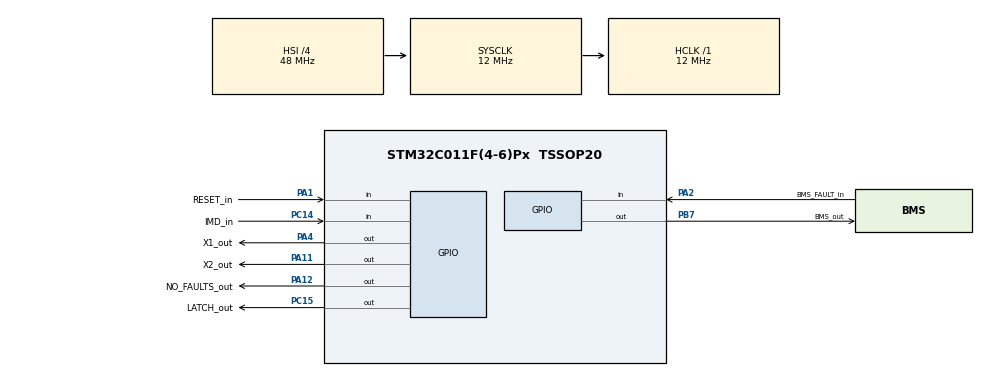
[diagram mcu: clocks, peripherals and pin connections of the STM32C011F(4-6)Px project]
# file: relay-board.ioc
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Mcu.Family=STM32C0
Mcu.Name=STM32C011F(4-6)Px
Mcu.Package=TSSOP20
PA1.GPIO_Label=RESET_in
PA1.Signal=GPIO_Input
PA11\ [PA9].GPIO_Label=X2_out
PA11\ [PA9].Signal=GPIO_Output
PA12\ [PA10].GPIO_Label=NO_FAULTS_out
PA12\ [PA10].Signal=GPIO_Output
PA13.Mode=Serial_Wire
PA13.Signal=DEBUG_SWDIO
PA14-BOOT0.Mode=Serial_Wire
PA14-BOOT0.Signal=DEBUG_SWCLK
PA2.GPIO_Label=BMS_FAULT_in
PA2.Signal=GPIO_Input
PA4.GPIO_Label=X1_out
PA4.Signal=GPIO_Output
PB7.GPIO_Label=BMS_out
PB7.Signal=GPIO_Output
PC14-OSCX_IN\ (PC14).GPIO_Label=IMD_in
PC14-OSCX_IN\ (PC14).Signal=GPIO_Input
PC15-OSCX_OUT\ (PC15).GPIO_Label=LATCH_out
PC15-OSCX_OUT\ (PC15).Signal=GPIO_Output
ProjectManager.HeapSize=0x200
ProjectManager.StackSize=0x400
ProjectManager.TargetToolchain=STM32CubeIDE
RCC.ADCFreq_Value=12000000
RCC.AHBFreq_Value=12000000
RCC.CortexFreq_Value=12000000
RCC.EXTERNAL_CLOCK_VALUE=12288000
RCC.HCLKFreq_Value=12000000
RCC.HSE_VALUE=8000000
RCC.HSI_VALUE=48000000
RCC.LSE_VALUE=32768
RCC.SYSCLKFreq_VALUE=12000000
board=custom

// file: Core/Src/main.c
/* USER CODE BEGIN Header */
/**
  ******************************************************************************
  * @file           : main.c
  * @brief          : Main program body
  ******************************************************************************
  * @attention
  *
  * Copyright (c) 2026 STMicroelectronics.
  * All rights reserved.
  *
  * This software is licensed under terms that can be found in the LICENSE file
  * in the root directory of this software component.
  * If no LICENSE file comes with this software, it is provided AS-IS.
  *
  ******************************************************************************
  */
/* USER CODE END Header */
#include "main.h"

/* USER CODE BEGIN PTD */
typedef enum {
    SAFE,
    UNSAFE
} SystemState;

//we assume starts safe.

/* USER CODE END PTD */

/* USER CODE BEGIN PV */
uint32_t last_blink_time = 0;
const uint32_t BLINK_INTERVAL = 285; // 285ms ~= 2blinks/s
SystemState current_state = SAFE;

/* USER CODE END PV */

void SystemClock_Config(void);
static void MX_GPIO_Init(void);

int main(void)
{

  /* USER CODE BEGIN 1 */
	uint8_t startupDone = 0;
	uint32_t startupTime = HAL_GetTick();

  /* USER CODE END 1 */

  /* MCU Configuration--------------------------------------------------------*/

  /* Reset of all peripherals, Initializes the Flash interface and the Systick. */
  HAL_Init();

  /* USER CODE BEGIN Init */
  // intiailize everything to 0;
  // LEDs (X1/PA4) (X2, PA11) Disconnects LED from ground, COLOR NOT SET, but for now GPIO_PIN_4 is GREEN

  HAL_GPIO_WritePin(GPIOA, GPIO_PIN_11, GPIO_PIN_RESET);
  //GREEN ON DEFAULT
  HAL_GPIO_WritePin(GPIOA, GPIO_PIN_4, GPIO_PIN_SET);

  // signal to ROLLHOOP NO_FAULTS set high
  HAL_GPIO_WritePin(GPIOA, GPIO_PIN_12, GPIO_PIN_SET);

  //reset_latch toggled to reset on startup
  HAL_GPIO_WritePin(GPIOC, GPIO_PIN_15, GPIO_PIN_SET);

  //This is not good to have delay in init code (EV Active has time limits)
  HAL_Delay(5);
  HAL_GPIO_WritePin(GPIOC, GPIO_PIN_15, GPIO_PIN_RESET);

  //This is BMS relay, only set when safe
  HAL_GPIO_WritePin(GPIOB, GPIO_PIN_7, GPIO_PIN_RESET);

  /* USER CODE END Init */

  /* Configure the system clock */
  SystemClock_Config();

  /* Initialize all configured peripherals */
  MX_GPIO_Init();
  /* USER CODE BEGIN 2 */
  startupTime = HAL_GetTick();
  //this is the first instruction before we enter while loop so as close to startup time as psosible.

  /* USER CODE END 2 */

  /* Infinite loop */
  /* USER CODE BEGIN WHILE */
  while (1)
  {
	  //READ INPUTS ( we invert low actives and our code (for inputss) assumes 1 = active)

	  //if reset is pressed, it pulls down to 0
	  uint8_t reset = (HAL_GPIO_ReadPin(GPIOA, GPIO_PIN_1) == GPIO_PIN_RESET);

	  //when BMS Fault goes low, overriding the pull up resistor there's a fault
	  uint8_t fault_bms = (HAL_GPIO_ReadPin(GPIOA, GPIO_PIN_2) == GPIO_PIN_RESET);

    //Online it says Bender ISO175 has response time <30s. IF this is the case,
    //it may be better to just set startupDone after the first time or couple of itmes
    //imd_fault goes to 0, indicating no faults present and setup has finsihed.
	  if (HAL_GetTick() - startupTime > 2000){
		  startupDone = 1;
	  }
	  uint8_t fault_imd = (HAL_GPIO_ReadPin(GPIOC, GPIO_PIN_14) == GPIO_PIN_SET && startupDone);

	  uint8_t physical_fault_present = (fault_bms || fault_imd);

	  //STATE MACHINE
	  if (current_state == SAFE){

		  // if we're in SAFE state and a fault occurs, we go to unsafe. Otherwise, stay in safe
		  if (physical_fault_present == 1){
			  current_state = UNSAFE;
		  }

	  }

	  else if (current_state == UNSAFE){
		  // We cannot leave UNSAFE except for a reset.

	  }

	  //Async reset
	  if (reset && !fault_bms){
		  // Reset latches on relays
		  HAL_GPIO_WritePin(GPIOC, GPIO_PIN_15, GPIO_PIN_SET);
		  HAL_Delay(5);
		  HAL_GPIO_WritePin(GPIOC, GPIO_PIN_15, GPIO_PIN_RESET);

		  //update startTime, reset startupDone allowing IMD to fault for up to 2s after reset
		  startupTime = HAL_GetTick();
		  startupDone = 0;

		  //Change state to SAFE:
		  current_state = SAFE;

	  }

	  // OUTPUT LOGIC
	  if (current_state == UNSAFE){
		  //Open BMS Relay by setting BMS_Gate low
		  HAL_GPIO_WritePin(GPIOB, GPIO_PIN_7, GPIO_PIN_RESET);

		  //Send faulted signal to ROLL HOOP
		  HAL_GPIO_WritePin(GPIOA, GPIO_PIN_12, GPIO_PIN_RESET);

		  //turn GREEN LED Off
		  HAL_GPIO_WritePin(GPIOA, GPIO_PIN_4, GPIO_PIN_RESET);

		  //Every 2 seconds, blink RED
		  if (HAL_GetTick() - last_blink_time >= BLINK_INTERVAL){
			  HAL_GPIO_TogglePin(GPIOA, GPIO_PIN_11);
			  last_blink_time = HAL_GetTick();
		  }
	  }

	  else if (current_state == SAFE){
		  //Close BMS Relay, setting BMS_Gate HIGH
		  HAL_GPIO_WritePin(GPIOB, GPIO_PIN_7, GPIO_PIN_SET);

		  //Send no fault signal to ROLL HOOP
		  HAL_GPIO_WritePin(GPIOA, GPIO_PIN_12, GPIO_PIN_SET);

		  //turn GREEN LED On
		  HAL_GPIO_WritePin(GPIOA, GPIO_PIN_4, GPIO_PIN_SET);

		  //turn RED LED Off
		  HAL_GPIO_WritePin(GPIOA, GPIO_PIN_11, GPIO_PIN_RESET);
	  }

    /* USER CODE END WHILE */

  }
}

void SystemClock_Config(void)
{
  RCC_OscInitTypeDef RCC_OscInitStruct = {0};
  RCC_ClkInitTypeDef RCC_ClkInitStruct = {0};

  __HAL_FLASH_SET_LATENCY(FLASH_LATENCY_0);

  /** Initializes the RCC Oscillators according to the specified parameters
  * in the RCC_OscInitTypeDef structure.
  */
  RCC_OscInitStruct.OscillatorType = RCC_OSCILLATORTYPE_HSI;
  RCC_OscInitStruct.HSIState = RCC_HSI_ON;
  RCC_OscInitStruct.HSIDiv = RCC_HSI_DIV4;
  RCC_OscInitStruct.HSICalibrationValue = RCC_HSICALIBRATION_DEFAULT;
  if (HAL_RCC_OscConfig(&RCC_OscInitStruct) != HAL_OK)
  {
    Error_Handler();
  }

  /** Initializes the CPU, AHB and APB buses clocks
  */
  RCC_ClkInitStruct.ClockType = RCC_CLOCKTYPE_HCLK|RCC_CLOCKTYPE_SYSCLK
                              |RCC_CLOCKTYPE_PCLK1;
  RCC_ClkInitStruct.SYSCLKSource = RCC_SYSCLKSOURCE_HSI;
  RCC_ClkInitStruct.SYSCLKDivider = RCC_SYSCLK_DIV1;
  RCC_ClkInitStruct.AHBCLKDivider = RCC_HCLK_DIV1;
  RCC_ClkInitStruct.APB1CLKDivider = RCC_APB1_DIV1;

  if (HAL_RCC_ClockConfig(&RCC_ClkInitStruct, FLASH_LATENCY_0) != HAL_OK)
  {
    Error_Handler();
  }
}

static void MX_GPIO_Init(void)
{
  GPIO_InitTypeDef GPIO_InitStruct = {0};

  /* GPIO Ports Clock Enable */
  __HAL_RCC_GPIOB_CLK_ENABLE();
  __HAL_RCC_GPIOC_CLK_ENABLE();
  __HAL_RCC_GPIOA_CLK_ENABLE();

  /*Configure GPIO pin Output Level */
  HAL_GPIO_WritePin(BMS_out_GPIO_Port, BMS_out_Pin, GPIO_PIN_RESET);

  /*Configure GPIO pin Output Level */
  HAL_GPIO_WritePin(LATCH_out_GPIO_Port, LATCH_out_Pin, GPIO_PIN_RESET);

  /*Configure GPIO pin Output Level */
  HAL_GPIO_WritePin(GPIOA, X1_out_Pin|X2_out_Pin|NO_FAULTS_out_Pin, GPIO_PIN_RESET);

  /*Configure GPIO pin : BMS_out_Pin */
  GPIO_InitStruct.Pin = BMS_out_Pin;
  GPIO_InitStruct.Mode = GPIO_MODE_OUTPUT_PP;
  GPIO_InitStruct.Pull = GPIO_NOPULL;
  GPIO_InitStruct.Speed = GPIO_SPEED_FREQ_LOW;
  HAL_GPIO_Init(BMS_out_GPIO_Port, &GPIO_InitStruct);

  /*Configure GPIO pin : IMD_in_Pin */
  GPIO_InitStruct.Pin = IMD_in_Pin;
  GPIO_InitStruct.Mode = GPIO_MODE_INPUT;
  GPIO_InitStruct.Pull = GPIO_NOPULL;
  HAL_GPIO_Init(IMD_in_GPIO_Port, &GPIO_InitStruct);

  /*Configure GPIO pin : LATCH_out_Pin */
  GPIO_InitStruct.Pin = LATCH_out_Pin;
  GPIO_InitStruct.Mode = GPIO_MODE_OUTPUT_PP;
  GPIO_InitStruct.Pull = GPIO_NOPULL;
  GPIO_InitStruct.Speed = GPIO_SPEED_FREQ_LOW;
  HAL_GPIO_Init(LATCH_out_GPIO_Port, &GPIO_InitStruct);

  /*Configure GPIO pins : RESET_in_Pin BMS_FAULT_in_Pin */
  GPIO_InitStruct.Pin = RESET_in_Pin|BMS_FAULT_in_Pin;
  GPIO_InitStruct.Mode = GPIO_MODE_INPUT;
  GPIO_InitStruct.Pull = GPIO_NOPULL;
  HAL_GPIO_Init(GPIOA, &GPIO_InitStruct);

  /*Configure GPIO pins : X1_out_Pin X2_out_Pin NO_FAULTS_out_Pin */
  GPIO_InitStruct.Pin = X1_out_Pin|X2_out_Pin|NO_FAULTS_out_Pin;
  GPIO_InitStruct.Mode = GPIO_MODE_OUTPUT_PP;
  GPIO_InitStruct.Pull = GPIO_NOPULL;
  GPIO_InitStruct.Speed = GPIO_SPEED_FREQ_LOW;
  HAL_GPIO_Init(GPIOA, &GPIO_InitStruct);

}

void Error_Handler(void)
{
  __disable_irq();
  while (1)
  {
  }
}
